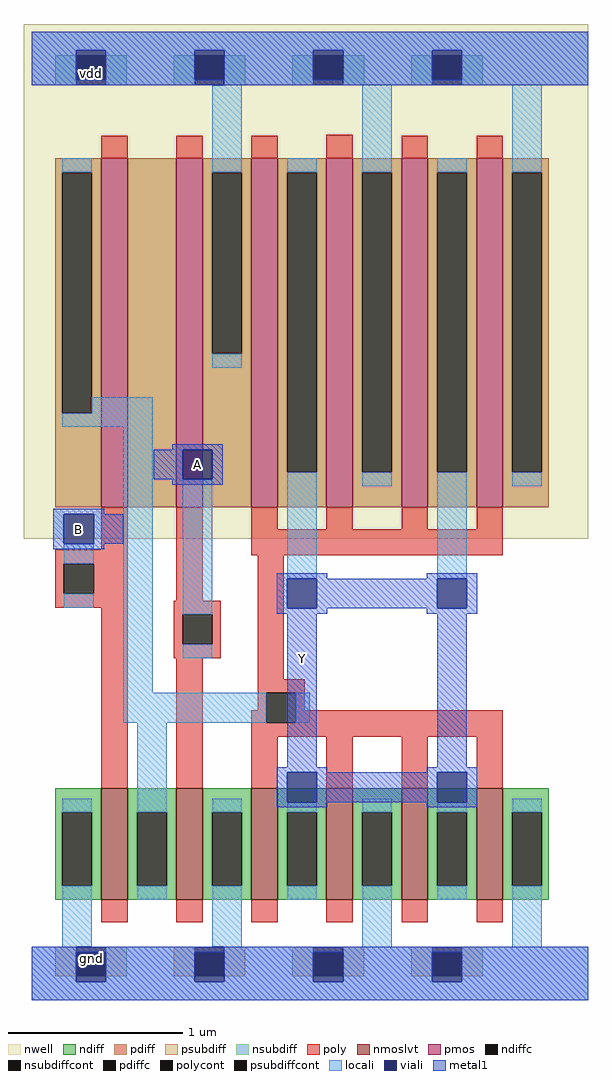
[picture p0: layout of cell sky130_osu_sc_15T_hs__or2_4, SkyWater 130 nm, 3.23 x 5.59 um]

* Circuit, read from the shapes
.subckt sky130_osu_sc_15T_hs__or2_4 Y A B
XM1 n1 B gnd gnd sky130_fd_pr__nfet_01v8_lvt w=0.64 l=0.15
XM2 gnd A n1 gnd sky130_fd_pr__nfet_01v8_lvt w=0.64 l=0.15
XM3 Y n1 gnd gnd sky130_fd_pr__nfet_01v8_lvt w=0.64 l=0.15 m=4
XM4 n2 B n1 vdd sky130_fd_pr__pfet_01v8 w=2 l=0.15
XM5 vdd A n2 vdd sky130_fd_pr__pfet_01v8 w=2 l=0.15
XM6 Y n1 vdd vdd sky130_fd_pr__pfet_01v8 w=2 l=0.15 m=4
.ends

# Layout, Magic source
magic
tech sky130A
magscale 1 2
<< nwell >>
rect -9 529 638 1119
<< nmoslvt >>
rect 80 115 110 243
rect 166 115 196 243
rect 252 115 282 243
rect 338 115 368 243
rect 424 115 454 243
rect 510 115 540 243
<< pmos >>
rect 80 565 110 965
rect 166 565 196 965
rect 252 565 282 965
rect 338 565 368 965
rect 424 565 454 965
rect 510 565 540 965
<< ndiff >>
rect 27 215 80 243
rect 27 131 35 215
rect 69 131 80 215
rect 27 115 80 131
rect 110 215 166 243
rect 110 131 121 215
rect 155 131 166 215
rect 110 115 166 131
rect 196 215 252 243
rect 196 131 207 215
rect 241 131 252 215
rect 196 115 252 131
rect 282 215 338 243
rect 282 131 293 215
rect 327 131 338 215
rect 282 115 338 131
rect 368 215 424 243
rect 368 131 379 215
rect 413 131 424 215
rect 368 115 424 131
rect 454 215 510 243
rect 454 131 465 215
rect 499 131 510 215
rect 454 115 510 131
rect 540 215 593 243
rect 540 131 551 215
rect 585 131 593 215
rect 540 115 593 131
<< pdiff >>
rect 27 949 80 965
rect 27 673 35 949
rect 69 673 80 949
rect 27 565 80 673
rect 110 565 166 965
rect 196 949 252 965
rect 196 741 207 949
rect 241 741 252 949
rect 196 565 252 741
rect 282 949 338 965
rect 282 605 293 949
rect 327 605 338 949
rect 282 565 338 605
rect 368 949 424 965
rect 368 605 379 949
rect 413 605 424 949
rect 368 565 424 605
rect 454 949 510 965
rect 454 605 465 949
rect 499 605 510 949
rect 454 565 510 605
rect 540 949 593 965
rect 540 605 551 949
rect 585 605 593 949
rect 540 565 593 605
<< ndiffc >>
rect 35 131 69 215
rect 121 131 155 215
rect 207 131 241 215
rect 293 131 327 215
rect 379 131 413 215
rect 465 131 499 215
rect 551 131 585 215
<< pdiffc >>
rect 35 673 69 949
rect 207 741 241 949
rect 293 605 327 949
rect 379 605 413 949
rect 465 605 499 949
rect 551 605 585 949
<< psubdiff >>
rect 27 27 51 61
rect 85 27 109 61
rect 163 27 187 61
rect 221 27 245 61
rect 299 27 323 61
rect 357 27 381 61
rect 435 27 459 61
rect 493 27 517 61
<< nsubdiff >>
rect 27 1049 51 1083
rect 85 1049 109 1083
rect 163 1049 187 1083
rect 221 1049 245 1083
rect 299 1049 323 1083
rect 357 1049 381 1083
rect 435 1049 459 1083
rect 493 1049 517 1083
<< psubdiffcont >>
rect 51 27 85 61
rect 187 27 221 61
rect 323 27 357 61
rect 459 27 493 61
<< nsubdiffcont >>
rect 51 1049 85 1083
rect 187 1049 221 1083
rect 323 1049 357 1083
rect 459 1049 493 1083
<< poly >>
rect 80 965 110 991
rect 166 965 196 991
rect 252 965 282 991
rect 338 965 368 992
rect 424 965 454 991
rect 510 965 540 991
rect 80 516 110 565
rect 27 500 110 516
rect 27 466 37 500
rect 71 466 110 500
rect 27 450 110 466
rect 166 458 196 565
rect 252 540 282 565
rect 338 540 368 565
rect 424 540 454 565
rect 510 540 540 565
rect 252 510 540 540
rect 80 243 110 450
rect 163 442 217 458
rect 163 408 173 442
rect 207 408 217 442
rect 163 392 217 408
rect 166 243 196 392
rect 259 368 289 510
rect 259 352 313 368
rect 259 332 269 352
rect 252 318 269 332
rect 303 332 313 352
rect 303 318 540 332
rect 252 302 540 318
rect 252 243 282 302
rect 338 243 368 302
rect 424 243 454 302
rect 510 243 540 302
rect 80 89 110 115
rect 166 89 196 115
rect 252 89 282 115
rect 338 89 368 115
rect 424 89 454 115
rect 510 89 540 115
<< polycont >>
rect 37 466 71 500
rect 173 408 207 442
rect 269 318 303 352
<< locali >>
rect 0 1089 638 1110
rect 0 1049 51 1089
rect 85 1049 187 1089
rect 221 1049 323 1089
rect 357 1049 459 1089
rect 493 1049 638 1089
rect 35 949 69 965
rect 207 949 241 1049
rect 207 725 241 741
rect 293 949 327 965
rect 69 673 139 691
rect 35 657 139 673
rect 37 500 71 523
rect 37 450 71 466
rect 105 352 139 657
rect 173 442 207 597
rect 293 483 327 605
rect 379 949 413 1049
rect 379 589 413 605
rect 465 949 499 965
rect 465 483 499 605
rect 551 949 585 1049
rect 551 589 585 605
rect 173 392 207 408
rect 105 318 269 352
rect 303 318 319 352
rect 35 215 69 231
rect 35 61 69 131
rect 121 215 155 318
rect 121 115 155 131
rect 207 215 241 231
rect 207 61 241 131
rect 293 215 327 227
rect 293 115 327 131
rect 379 215 413 231
rect 379 61 413 131
rect 465 215 499 227
rect 465 115 499 131
rect 551 215 585 231
rect 551 61 585 131
rect 0 21 51 61
rect 85 21 187 61
rect 221 21 323 61
rect 357 21 459 61
rect 493 21 638 61
rect 0 0 638 21
<< viali >>
rect 51 1083 85 1089
rect 51 1055 85 1083
rect 187 1083 221 1089
rect 187 1055 221 1083
rect 323 1083 357 1089
rect 323 1055 357 1083
rect 459 1083 493 1089
rect 459 1055 493 1083
rect 37 523 71 557
rect 173 597 207 631
rect 293 449 327 483
rect 465 449 499 483
rect 293 227 327 261
rect 465 227 499 261
rect 51 27 85 55
rect 51 21 85 27
rect 187 27 221 55
rect 187 21 221 27
rect 323 27 357 55
rect 323 21 357 27
rect 459 27 493 55
rect 459 21 493 27
<< metal1 >>
rect 0 1089 638 1110
rect 0 1055 51 1089
rect 85 1055 187 1089
rect 221 1055 323 1089
rect 357 1055 459 1089
rect 493 1055 638 1089
rect 0 1049 638 1055
rect 161 631 219 637
rect 140 597 173 631
rect 207 597 219 631
rect 161 591 219 597
rect 25 557 83 563
rect 25 523 37 557
rect 71 523 105 557
rect 25 517 83 523
rect 281 483 339 489
rect 453 483 511 489
rect 281 449 293 483
rect 327 449 465 483
rect 499 449 511 483
rect 281 443 339 449
rect 453 443 511 449
rect 293 267 327 443
rect 465 267 499 443
rect 281 261 339 267
rect 453 261 511 267
rect 281 227 293 261
rect 327 227 465 261
rect 499 227 511 261
rect 281 221 339 227
rect 453 221 511 227
rect 0 55 638 61
rect 0 21 51 55
rect 85 21 187 55
rect 221 21 323 55
rect 357 21 459 55
rect 493 21 638 55
rect 0 0 638 21
<< labels >>
rlabel metal1 311 392 311 392 1 Y
port 1 n
rlabel viali 190 614 190 614 1 A
port 2 n
rlabel viali 54 540 54 540 1 B
port 3 n
rlabel viali 68 48 68 48 1 gnd
rlabel viali 68 1062 68 1062 1 vdd
<< end >>
